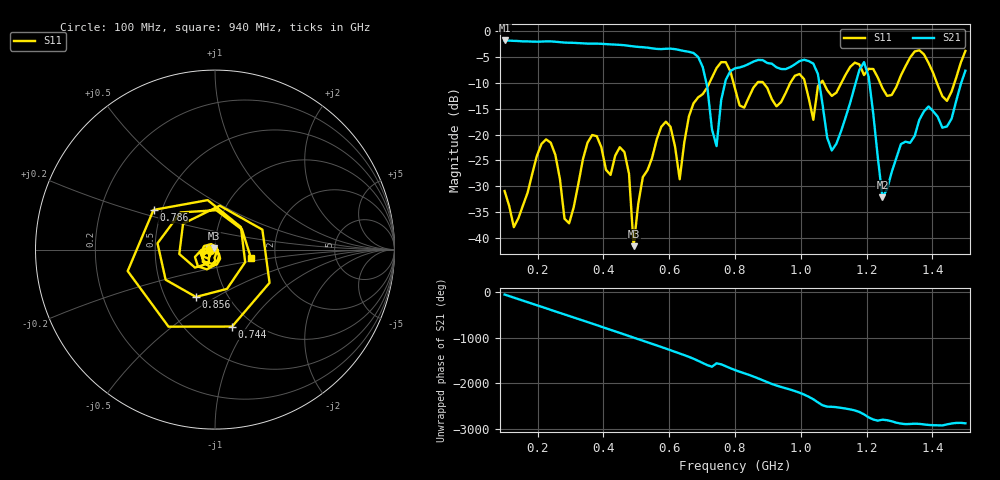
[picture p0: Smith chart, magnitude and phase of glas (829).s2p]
! NanoVNA-App
! Date: 2025-09-25 16:01:55
! Start: 100MHz Stop: 1,5GHz Points: 101
! S-Parameter data: F S11 S21 S12 S22
# Hz S RI R 50
!  Frequency  S11_Real  S11_Imag  S21_Real  S21_Imag  S12_Real  S12_Imag  S22_Real  S22_Imag
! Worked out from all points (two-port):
!   101 points, 100 MHz to 1.5 GHz, reference 50 ohm
!   highest |S21| = -1.80 dB at 100 MHz (marker M1); lowest = -32.1 dB at 1.248 GHz (marker M2)
!   |S21| within 3 dB of the highest: start of sweep to 684.4 MHz
!   lowest |S11| = -41.6 dB at 492 MHz (marker M3), VSWR 1.02, Z = 49.5 + j0.647 ohm
!   |S11| at or under -10 dB: start of sweep to 722.4 MHz; 795.3 MHz to 867.9 MHz (72.52 MHz wide, 8.72 % of centre); 886 MHz to 968 MHz (81.99 MHz wide, 8.84 % of centre) (the widest 3 of 7)
!   S12 and S22 are empty: the file has one direction only
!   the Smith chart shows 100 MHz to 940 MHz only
!   S11 on the Smith chart (normalised r, x): 100 MHz: 0.94, -0.01; 744 MHz: 0.80, -0.86; 786 MHz: 0.45, +0.24; 856 MHz: 0.71, -0.41; 940 MHz: 1.49, -0.15
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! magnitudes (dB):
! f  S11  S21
! 100 MHz  -30.9  -1.8
! 128 MHz  -37.9  -1.9
! 226 MHz  -20.9  -2.0
! 296 MHz  -37.1  -2.2
! 338 MHz  -24.7  -2.4
! 464 MHz  -23.4  -2.7
! 492 MHz  -41.6  -3.0
! 576 MHz  -18.5  -3.5
! 632 MHz  -28.6  -3.7
! 702 MHz  -12.2  -6.9
! 744 MHz  -7.1  -22.2
! 786 MHz  -7.8  -7.7
! 800 MHz  -11.1  -7.2
! 856 MHz  -10.9  -5.9
! 940 MHz  -13.7  -7.3
! 1.038 GHz  -17.1  -6.3
! 1.094 GHz  -12.5  -23.1
! 1.192 GHz  -8.5  -6.0
! 1.248 GHz  -11.0  -32.1
! 1.276 GHz  -12.4  -27.3
! 1.444 GHz  -13.5  -18.4
! 1.5 GHz  -3.8  -7.7
